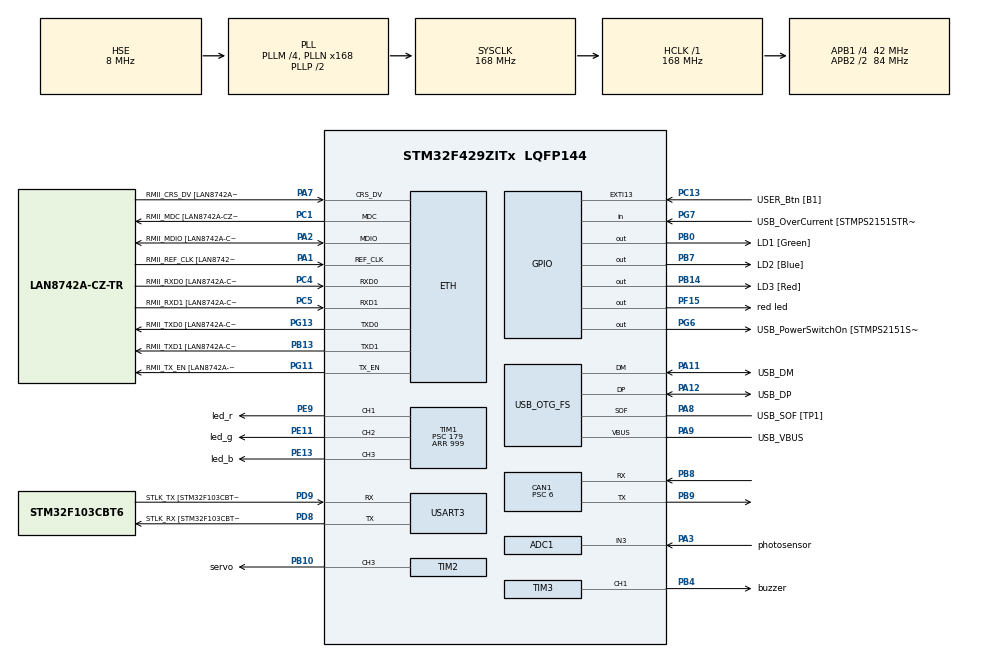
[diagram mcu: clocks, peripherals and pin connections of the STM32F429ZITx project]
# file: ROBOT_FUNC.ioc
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ADC1.Channel-0\#ChannelRegularConversion=ADC_CHANNEL_3
ADC1.ContinuousConvMode=DISABLE
ADC1.InjNumberOfConversion=0
ADC1.NbrOfConversionFlag=1
ADC1.Rank-0\#ChannelRegularConversion=1
ADC1.SamplingTime-0\#ChannelRegularConversion=ADC_SAMPLETIME_84CYCLES
ADC1.ScanConvMode=DISABLE
ADC1.master=1
CAN1.ABOM=ENABLE
CAN1.BS1=CAN_BS1_11TQ
CAN1.BS2=CAN_BS2_2TQ
CAN1.CalculateBaudRate=500000
CAN1.CalculateTimeBit=2000
CAN1.CalculateTimeQuantum=142.85714285714286
CAN1.NART=ENABLE
CAN1.Prescaler=6
ETH.MediaInterface=HAL_ETH_RMII_MODE
ETH.PHY_Name=LAN8742A_PHY_ADDRESS
ETH.PHY_Value=0
ETH.PhyAddress=0
Mcu.Family=STM32F4
Mcu.Name=STM32F429ZITx
Mcu.Package=LQFP144
NVIC.CAN1_RX0_IRQn=true\:0\:0\:false\:false\:true\:true\:true\:true
NVIC.CAN1_TX_IRQn=true\:0\:0\:false\:false\:true\:true\:true\:true
NVIC.PriorityGroup=NVIC_PRIORITYGROUP_4
PA1.GPIO_Label=RMII_REF_CLK [LAN8742A-CZ-TR_REFCLK0]
PA1.Mode=RMII
PA1.Signal=ETH_REF_CLK
PA10.GPIO_Label=USB_ID
PA10.Signal=USB_OTG_FS_ID
PA11.GPIO_Label=USB_DM
PA11.Mode=Device_Only
PA11.Signal=USB_OTG_FS_DM
PA12.GPIO_Label=USB_DP
PA12.Mode=Device_Only
PA12.Signal=USB_OTG_FS_DP
PA13.GPIO_Label=TMS
PA13.Mode=Serial_Wire
PA13.Signal=SYS_JTMS-SWDIO
PA14.GPIO_Label=TCK
PA14.Mode=Serial_Wire
PA14.Signal=SYS_JTCK-SWCLK
PA2.GPIO_Label=RMII_MDIO [LAN8742A-CZ-TR_MDIO]
PA2.Mode=RMII
PA2.Signal=ETH_MDIO
PA3.GPIO_Label=photosensor
PA3.Signal=ADCx_IN3
PA7.GPIO_Label=RMII_CRS_DV [LAN8742A-CZ-TR_CRS_DV]
PA7.Mode=RMII
PA7.Signal=ETH_CRS_DV
PA8.GPIO_Label=USB_SOF [TP1]
PA8.Mode=Activate_SOF_FS
PA8.Signal=USB_OTG_FS_SOF
PA9.GPIO_Label=USB_VBUS
PA9.Mode=Activate_VBUS
PA9.Signal=USB_OTG_FS_VBUS
PB0.GPIO_Label=LD1 [Green]
PB0.Signal=GPIO_Output
PB10.GPIO_Label=servo
PB10.Signal=S_TIM2_CH3
PB13.GPIO_Label=RMII_TXD1 [LAN8742A-CZ-TR_TXD1]
PB13.Mode=RMII
PB13.Signal=ETH_TXD1
PB14.GPIO_Label=LD3 [Red]
PB14.Signal=GPIO_Output
PB4.GPIO_Label=buzzer
PB4.Signal=S_TIM3_CH1
PB7.GPIO_Label=LD2 [Blue]
PB7.Signal=GPIO_Output
PB8.Mode=CAN_Activate
PB8.Signal=CAN1_RX
PB9.Mode=CAN_Activate
PB9.Signal=CAN1_TX
PC1.GPIO_Label=RMII_MDC [LAN8742A-CZ-TR_MDC]
PC1.Mode=RMII
PC1.Signal=ETH_MDC
PC13.GPIO_Label=USER_Btn [B1]
PC13.Signal=GPXTI13
PC14/OSC32_IN.Mode=LSE-External-Oscillator
PC14/OSC32_IN.Signal=RCC_OSC32_IN
PC15/OSC32_OUT.Mode=LSE-External-Oscillator
PC15/OSC32_OUT.Signal=RCC_OSC32_OUT
PC4.GPIO_Label=RMII_RXD0 [LAN8742A-CZ-TR_RXD0]
PC4.Mode=RMII
PC4.Signal=ETH_RXD0
PC5.GPIO_Label=RMII_RXD1 [LAN8742A-CZ-TR_RXD1]
PC5.Mode=RMII
PC5.Signal=ETH_RXD1
PD8.GPIO_Label=STLK_RX [STM32F103CBT6_PA3]
PD8.Mode=Asynchronous
PD8.Signal=USART3_TX
PD9.GPIO_Label=STLK_TX [STM32F103CBT6_PA2]
PD9.Mode=Asynchronous
PD9.Signal=USART3_RX
PE11.GPIO_Label=led_g
PE11.Signal=S_TIM1_CH2
PE13.GPIO_Label=led_b
PE13.Signal=S_TIM1_CH3
PE9.GPIO_Label=led_r
PE9.Signal=S_TIM1_CH1
PF15.GPIO_Label=red led
PF15.Signal=GPIO_Output
PG11.GPIO_Label=RMII_TX_EN [LAN8742A-CZ-TR_TXEN]
PG11.Mode=RMII
PG11.Signal=ETH_TX_EN
PG13.GPIO_Label=RMII_TXD0 [LAN8742A-CZ-TR_TXD0]
PG13.Mode=RMII
PG13.Signal=ETH_TXD0
PG6.GPIO_Label=USB_PowerSwitchOn [STMPS2151STR_EN]
PG6.Signal=GPIO_Output
PG7.GPIO_Label=USB_OverCurrent [STMPS2151STR_FAULT]
PG7.Signal=GPIO_Input
PH0/OSC_IN.GPIO_Label=MCO [STM32F103CBT6_PA8]
PH0/OSC_IN.Mode=HSE-External-Clock-Source
PH0/OSC_IN.Signal=RCC_OSC_IN
PH1/OSC_OUT.Mode=HSE-External-Clock-Source
PH1/OSC_OUT.Signal=RCC_OSC_OUT
ProjectManager.HeapSize=0x200
ProjectManager.StackSize=0x400
ProjectManager.TargetToolchain=CMake
RCC.48MHZClocksFreq_Value=48000000
RCC.AHBFreq_Value=168000000
RCC.APB1CLKDivider=RCC_HCLK_DIV4
RCC.APB1Freq_Value=42000000
RCC.APB1TimFreq_Value=84000000
RCC.APB2CLKDivider=RCC_HCLK_DIV2
RCC.APB2Freq_Value=84000000
RCC.APB2TimFreq_Value=168000000
RCC.CortexFreq_Value=168000000
RCC.HCLKFreq_Value=168000000
RCC.HSE_VALUE=8000000
RCC.HSI_VALUE=16000000
RCC.PLLM=4
RCC.PLLMUL=RCC_PLL_MUL9
RCC.PLLN=168
RCC.PLLQ=7
RCC.PRESCALERUSB=RCC_USBCLKSOURCE_PLL_DIV1_5
RCC.SYSCLKFreq_VALUE=168000000
RCC.SYSCLKSource=RCC_SYSCLKSOURCE_PLLCLK
RCC.SYSCLKSourceVirtual=RCC_SYSCLKSOURCE_PLLCLK
RCC.USBFreq_Value=48000000
RCC.VCOOutputFreq_Value=336000000
SH.ADCx_IN3.0=ADC1_IN3,IN3
SH.S_TIM1_CH1.0=TIM1_CH1,PWM Generation1 CH1
SH.S_TIM1_CH2.0=TIM1_CH2,PWM Generation2 CH2
SH.S_TIM1_CH3.0=TIM1_CH3,PWM Generation3 CH3
SH.S_TIM2_CH3.0=TIM2_CH3,PWM Generation3 CH3
SH.S_TIM3_CH1.0=TIM3_CH1,PWM Generation1 CH1
TIM1.AutoReloadPreload=TIM_AUTORELOAD_PRELOAD_ENABLE
TIM1.Channel-PWM\ Generation1\ CH1=TIM_CHANNEL_1
TIM1.Channel-PWM\ Generation2\ CH2=TIM_CHANNEL_2
TIM1.Channel-PWM\ Generation3\ CH3=TIM_CHANNEL_3
TIM1.Period=999
TIM1.Prescaler=179
TIM2.AutoReloadPreload=TIM_AUTORELOAD_PRELOAD_ENABLE
TIM2.Channel-PWM\ Generation3\ CH3=TIM_CHANNEL_3
TIM2.Period=19999
TIM2.Prescaler=83
TIM2.Pulse-PWM\ Generation3\ CH3=1500
TIM3.Channel-PWM\ Generation1\ CH1=TIM_CHANNEL_1
TIM3.Period=999
TIM3.Prescaler=167
TIM3.Pulse-PWM\ Generation1\ CH1=500
USART3.VirtualMode=VM_ASYNC
USB_OTG_FS.VirtualMode=Device_Only
VP_TIM1_VS_ClockSourceINT.Mode=Internal
VP_TIM2_VS_ClockSourceINT.Mode=Internal
VP_TIM3_VS_ClockSourceINT.Mode=Internal
board=NUCLEO-F429ZI

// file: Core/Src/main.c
/* USER CODE BEGIN Header */
/**
  ******************************************************************************
  * @file           : main.c
  * @brief          : Main program body
  ******************************************************************************
  * @attention
  *
  * Copyright (c) 2026 STMicroelectronics.
  * All rights reserved.
  *
  * This software is licensed under terms that can be found in the LICENSE file
  * in the root directory of this software component.
  * If no LICENSE file comes with this software, it is provided AS-IS.
  *
  ******************************************************************************
  */
/* USER CODE END Header */
#include "main.h"
#include "string.h"

/* USER CODE BEGIN Includes */
#include "led.h"
#include "warning_led.h"
#include "buzzer.h"
#include "can.h"
/* USER CODE END Includes */

ETH_TxPacketConfig TxConfig;
ETH_DMADescTypeDef  DMARxDscrTab[ETH_RX_DESC_CNT]; /* Ethernet Rx DMA Descriptors */
ETH_DMADescTypeDef  DMATxDscrTab[ETH_TX_DESC_CNT]; /* Ethernet Tx DMA Descriptors */

ADC_HandleTypeDef hadc1;

CAN_HandleTypeDef hcan1;

ETH_HandleTypeDef heth;

TIM_HandleTypeDef htim1;
TIM_HandleTypeDef htim2;
TIM_HandleTypeDef htim3;

UART_HandleTypeDef huart3;

PCD_HandleTypeDef hpcd_USB_OTG_FS;

/* USER CODE BEGIN PV */
uint8_t app_mode = 0; // 0:auto 1:manual

uint16_t adcValue = 0;

uint8_t rgb_led_state = 0;    // 0: OFF, 1: ON
uint8_t red_led_state = 0;    // 0: OFF, 1: ON
uint8_t buzzer_state = 0;     // 0: OFF, 1: ON
//uint16_t buzzer_duty = 0;   // 필요하면 부저 세기까지 저장
uint8_t manual_rgb_req = 0;  // 수동 RGB ON/OFF 요청
/* USER CODE END PV */

void SystemClock_Config(void);
static void MX_GPIO_Init(void);
static void MX_ETH_Init(void);
static void MX_USART3_UART_Init(void);
static void MX_USB_OTG_FS_PCD_Init(void);
static void MX_ADC1_Init(void);
static void MX_TIM1_Init(void);
static void MX_TIM2_Init(void);
static void MX_TIM3_Init(void);
static void MX_CAN1_Init(void);

/* USER CODE BEGIN 0 */
const uint16_t dark_th = 2000;   // 너 환경에 맞게 조절
const uint16_t white_intensity = 999; // 흰색 밝기(0~999)

static void update_rgb_led(void)
{
    if (app_mode == 0) // AUTO
    {
        if (adcValue < dark_th)
        {
            LED_White(white_intensity);
            rgb_led_state = 1;
        }
        else
        {
            LED_Off();
            rgb_led_state = 0;
        }
    }
    else // MANUAL
    {
        if (manual_rgb_req)
        {
            LED_White(white_intensity);
            rgb_led_state = 1;
        }
        else
        {
            LED_Off();
            rgb_led_state = 0;
        }
    }
}

static void app_can_rx_cb(uint32_t id, const uint8_t *data, uint8_t dlc)
{
    (void)dlc;

    switch (id)
    {

    case CAN_ID_RX_MODE:
        app_mode = data[0];   // 0:auto 1:manual
        break;

    case CAN_ID_RX_RGB:
        manual_rgb_req = data[0]; // 0 OFF / 1 ON
        break;

    case CAN_ID_RX_LED:
        if (data[0])
        {
            WarningLed_On();
            red_led_state = 1;
        }
        else
        {
            WarningLed_Off();
            red_led_state = 0;
        }
        break;

    case CAN_ID_RX_BUZZER:
        if (data[0])
        {
            Buzzer_On(500);
            buzzer_state = 1;
        }
        else
        {
            Buzzer_Off();
            buzzer_state = 0;
        }
        break;

    default:
        break;
    }

    update_rgb_led();
}

/* USER CODE END 0 */

int main(void)
{

  /* MCU Configuration--------------------------------------------------------*/

  /* Reset of all peripherals, Initializes the Flash interface and the Systick. */
  HAL_Init();

  /* Configure the system clock */
  SystemClock_Config();

  /* Initialize all configured peripherals */
  MX_GPIO_Init();
  MX_ETH_Init();
  MX_USART3_UART_Init();
  MX_USB_OTG_FS_PCD_Init();
  MX_ADC1_Init();
  MX_TIM1_Init();
  MX_TIM2_Init();
  MX_TIM3_Init();
  MX_CAN1_Init();
  /* USER CODE BEGIN 2 */
  HAL_TIM_PWM_Start(&htim3, TIM_CHANNEL_1); // 부저
  HAL_TIM_PWM_Start(&htim1, TIM_CHANNEL_1); // RGB - Red
  HAL_TIM_PWM_Start(&htim1, TIM_CHANNEL_2); // RGB - Green
  HAL_TIM_PWM_Start(&htim1, TIM_CHANNEL_3); // RGB - Blue
  LED_Init();          // (led.c에 LED_Init이 있을 때)
  WarningLed_Init();
  Buzzer_Init();
  can_comm_init(&hcan1, app_can_rx_cb); // CAN 시작 + RX 알림 활성화 + 필터 설정
  /* USER CODE END 2 */

  /* Infinite loop */
  /* USER CODE BEGIN WHILE */
  while (1)
  {
  //  // ADC 읽기 (예: hadc1, 채널은 너 설정대로)
    HAL_ADC_Start(&hadc1);
    if (HAL_ADC_PollForConversion(&hadc1, 10) == HAL_OK) {
        adcValue = (uint16_t)HAL_ADC_GetValue(&hadc1); // 0~4095
    }

    HAL_ADC_Stop(&hadc1);
    update_rgb_led();
    can_comm_tx_status(adcValue,
                        rgb_led_state,
                        red_led_state,
                        buzzer_state);

    HAL_Delay(200);

  // 어두우면 흰색 ON, 밝으면 OFF
  //   if (adcValue < dark_th) {
  //       LED_White(white_intensity);
  //   } else {
  //       LED_Off();
  //   }

  //   if (triggered)
  //   {
  //       // 경고 동작
  //       WarningLed_On();
  //      // Buzzer_On(500);
  //   }
  //   else
  //   {
  //       // 평상시
  //       WarningLed_Off();
  //      // Buzzer_Off();
  //   }

  //   HAL_Delay(50);

    /* USER CODE END WHILE */

  }
}

void SystemClock_Config(void)
{
  RCC_OscInitTypeDef RCC_OscInitStruct = {0};
  RCC_ClkInitTypeDef RCC_ClkInitStruct = {0};

  /** Configure the main internal regulator output voltage
  */
  __HAL_RCC_PWR_CLK_ENABLE();
  __HAL_PWR_VOLTAGESCALING_CONFIG(PWR_REGULATOR_VOLTAGE_SCALE1);

  /** Initializes the RCC Oscillators according to the specified parameters
  * in the RCC_OscInitTypeDef structure.
  */
  RCC_OscInitStruct.OscillatorType = RCC_OSCILLATORTYPE_HSE;
  RCC_OscInitStruct.HSEState = RCC_HSE_BYPASS;
  RCC_OscInitStruct.PLL.PLLState = RCC_PLL_ON;
  RCC_OscInitStruct.PLL.PLLSource = RCC_PLLSOURCE_HSE;
  RCC_OscInitStruct.PLL.PLLM = 4;
  RCC_OscInitStruct.PLL.PLLN = 168;
  RCC_OscInitStruct.PLL.PLLP = RCC_PLLP_DIV2;
  RCC_OscInitStruct.PLL.PLLQ = 7;
  if (HAL_RCC_OscConfig(&RCC_OscInitStruct) != HAL_OK)
  {
    Error_Handler();
  }

  /** Initializes the CPU, AHB and APB buses clocks
  */
  RCC_ClkInitStruct.ClockType = RCC_CLOCKTYPE_HCLK|RCC_CLOCKTYPE_SYSCLK
                              |RCC_CLOCKTYPE_PCLK1|RCC_CLOCKTYPE_PCLK2;
  RCC_ClkInitStruct.SYSCLKSource = RCC_SYSCLKSOURCE_PLLCLK;
  RCC_ClkInitStruct.AHBCLKDivider = RCC_SYSCLK_DIV1;
  RCC_ClkInitStruct.APB1CLKDivider = RCC_HCLK_DIV4;
  RCC_ClkInitStruct.APB2CLKDivider = RCC_HCLK_DIV2;

  if (HAL_RCC_ClockConfig(&RCC_ClkInitStruct, FLASH_LATENCY_5) != HAL_OK)
  {
    Error_Handler();
  }
}

static void MX_ADC1_Init(void)
{

  ADC_ChannelConfTypeDef sConfig = {0};

  /** Configure the global features of the ADC (Clock, Resolution, Data Alignment and number of conversion)
  */
  hadc1.Instance = ADC1;
  hadc1.Init.ClockPrescaler = ADC_CLOCK_SYNC_PCLK_DIV4;
  hadc1.Init.Resolution = ADC_RESOLUTION_12B;
  hadc1.Init.ScanConvMode = DISABLE;
  hadc1.Init.ContinuousConvMode = DISABLE;
  hadc1.Init.DiscontinuousConvMode = DISABLE;
  hadc1.Init.ExternalTrigConvEdge = ADC_EXTERNALTRIGCONVEDGE_NONE;
  hadc1.Init.ExternalTrigConv = ADC_SOFTWARE_START;
  hadc1.Init.DataAlign = ADC_DATAALIGN_RIGHT;
  hadc1.Init.NbrOfConversion = 1;
  hadc1.Init.DMAContinuousRequests = DISABLE;
  hadc1.Init.EOCSelection = ADC_EOC_SINGLE_CONV;
  if (HAL_ADC_Init(&hadc1) != HAL_OK)
  {
    Error_Handler();
  }

  /** Configure for the selected ADC regular channel its corresponding rank in the sequencer and its sample time.
  */
  sConfig.Channel = ADC_CHANNEL_3;
  sConfig.Rank = 1;
  sConfig.SamplingTime = ADC_SAMPLETIME_84CYCLES;
  if (HAL_ADC_ConfigChannel(&hadc1, &sConfig) != HAL_OK)
  {
    Error_Handler();
  }

}

static void MX_CAN1_Init(void)
{

  hcan1.Instance = CAN1;
  hcan1.Init.Prescaler = 6;
  hcan1.Init.Mode = CAN_MODE_NORMAL;
  hcan1.Init.SyncJumpWidth = CAN_SJW_1TQ;
  hcan1.Init.TimeSeg1 = CAN_BS1_11TQ;
  hcan1.Init.TimeSeg2 = CAN_BS2_2TQ;
  hcan1.Init.TimeTriggeredMode = DISABLE;
  hcan1.Init.AutoBusOff = ENABLE;
  hcan1.Init.AutoWakeUp = DISABLE;
  hcan1.Init.AutoRetransmission = ENABLE;
  hcan1.Init.ReceiveFifoLocked = DISABLE;
  hcan1.Init.TransmitFifoPriority = DISABLE;
  if (HAL_CAN_Init(&hcan1) != HAL_OK)
  {
    Error_Handler();
  }

}

static void MX_ETH_Init(void)
{

   static uint8_t MACAddr[6];

  heth.Instance = ETH;
  MACAddr[0] = 0x00;
  MACAddr[1] = 0x80;
  MACAddr[2] = 0xE1;
  MACAddr[3] = 0x00;
  MACAddr[4] = 0x00;
  MACAddr[5] = 0x00;
  heth.Init.MACAddr = &MACAddr[0];
  heth.Init.MediaInterface = HAL_ETH_RMII_MODE;
  heth.Init.TxDesc = DMATxDscrTab;
  heth.Init.RxDesc = DMARxDscrTab;
  heth.Init.RxBuffLen = 1524;

  if (HAL_ETH_Init(&heth) != HAL_OK)
  {
    Error_Handler();
  }

  memset(&TxConfig, 0 , sizeof(ETH_TxPacketConfig));
  TxConfig.Attributes = ETH_TX_PACKETS_FEATURES_CSUM | ETH_TX_PACKETS_FEATURES_CRCPAD;
  TxConfig.ChecksumCtrl = ETH_CHECKSUM_IPHDR_PAYLOAD_INSERT_PHDR_CALC;
  TxConfig.CRCPadCtrl = ETH_CRC_PAD_INSERT;

}

static void MX_TIM1_Init(void)
{

  TIM_ClockConfigTypeDef sClockSourceConfig = {0};
  TIM_MasterConfigTypeDef sMasterConfig = {0};
  TIM_OC_InitTypeDef sConfigOC = {0};
  TIM_BreakDeadTimeConfigTypeDef sBreakDeadTimeConfig = {0};

  htim1.Instance = TIM1;
  htim1.Init.Prescaler = 179;
  htim1.Init.CounterMode = TIM_COUNTERMODE_UP;
  htim1.Init.Period = 999;
  htim1.Init.ClockDivision = TIM_CLOCKDIVISION_DIV1;
  htim1.Init.RepetitionCounter = 0;
  htim1.Init.AutoReloadPreload = TIM_AUTORELOAD_PRELOAD_ENABLE;
  if (HAL_TIM_Base_Init(&htim1) != HAL_OK)
  {
    Error_Handler();
  }
  sClockSourceConfig.ClockSource = TIM_CLOCKSOURCE_INTERNAL;
  if (HAL_TIM_ConfigClockSource(&htim1, &sClockSourceConfig) != HAL_OK)
  {
    Error_Handler();
  }
  if (HAL_TIM_PWM_Init(&htim1) != HAL_OK)
  {
    Error_Handler();
  }
  sMasterConfig.MasterOutputTrigger = TIM_TRGO_RESET;
  sMasterConfig.MasterSlaveMode = TIM_MASTERSLAVEMODE_DISABLE;
  if (HAL_TIMEx_MasterConfigSynchronization(&htim1, &sMasterConfig) != HAL_OK)
  {
    Error_Handler();
  }
  sConfigOC.OCMode = TIM_OCMODE_PWM1;
  sConfigOC.Pulse = 0;
  sConfigOC.OCPolarity = TIM_OCPOLARITY_HIGH;
  sConfigOC.OCNPolarity = TIM_OCNPOLARITY_HIGH;
  sConfigOC.OCFastMode = TIM_OCFAST_DISABLE;
  sConfigOC.OCIdleState = TIM_OCIDLESTATE_RESET;
  sConfigOC.OCNIdleState = TIM_OCNIDLESTATE_RESET;
  if (HAL_TIM_PWM_ConfigChannel(&htim1, &sConfigOC, TIM_CHANNEL_1) != HAL_OK)
  {
    Error_Handler();
  }
  if (HAL_TIM_PWM_ConfigChannel(&htim1, &sConfigOC, TIM_CHANNEL_2) != HAL_OK)
  {
    Error_Handler();
  }
  if (HAL_TIM_PWM_ConfigChannel(&htim1, &sConfigOC, TIM_CHANNEL_3) != HAL_OK)
  {
    Error_Handler();
  }
  sBreakDeadTimeConfig.OffStateRunMode = TIM_OSSR_DISABLE;
  sBreakDeadTimeConfig.OffStateIDLEMode = TIM_OSSI_DISABLE;
  sBreakDeadTimeConfig.LockLevel = TIM_LOCKLEVEL_OFF;
  sBreakDeadTimeConfig.DeadTime = 0;
  sBreakDeadTimeConfig.BreakState = TIM_BREAK_DISABLE;
  sBreakDeadTimeConfig.BreakPolarity = TIM_BREAKPOLARITY_HIGH;
  sBreakDeadTimeConfig.AutomaticOutput = TIM_AUTOMATICOUTPUT_DISABLE;
  if (HAL_TIMEx_ConfigBreakDeadTime(&htim1, &sBreakDeadTimeConfig) != HAL_OK)
  {
    Error_Handler();
  }
  HAL_TIM_MspPostInit(&htim1);

}

static void MX_TIM2_Init(void)
{

  TIM_ClockConfigTypeDef sClockSourceConfig = {0};
  TIM_MasterConfigTypeDef sMasterConfig = {0};
  TIM_OC_InitTypeDef sConfigOC = {0};

  htim2.Instance = TIM2;
  htim2.Init.Prescaler = 83;
  htim2.Init.CounterMode = TIM_COUNTERMODE_UP;
  htim2.Init.Period = 19999;
  htim2.Init.ClockDivision = TIM_CLOCKDIVISION_DIV1;
  htim2.Init.AutoReloadPreload = TIM_AUTORELOAD_PRELOAD_ENABLE;
  if (HAL_TIM_Base_Init(&htim2) != HAL_OK)
  {
    Error_Handler();
  }
  sClockSourceConfig.ClockSource = TIM_CLOCKSOURCE_INTERNAL;
  if (HAL_TIM_ConfigClockSource(&htim2, &sClockSourceConfig) != HAL_OK)
  {
    Error_Handler();
  }
  if (HAL_TIM_PWM_Init(&htim2) != HAL_OK)
  {
    Error_Handler();
  }
  sMasterConfig.MasterOutputTrigger = TIM_TRGO_RESET;
  sMasterConfig.MasterSlaveMode = TIM_MASTERSLAVEMODE_DISABLE;
  if (HAL_TIMEx_MasterConfigSynchronization(&htim2, &sMasterConfig) != HAL_OK)
  {
    Error_Handler();
  }
  sConfigOC.OCMode = TIM_OCMODE_PWM1;
  sConfigOC.Pulse = 1500;
  sConfigOC.OCPolarity = TIM_OCPOLARITY_HIGH;
  sConfigOC.OCFastMode = TIM_OCFAST_DISABLE;
  if (HAL_TIM_PWM_ConfigChannel(&htim2, &sConfigOC, TIM_CHANNEL_3) != HAL_OK)
  {
    Error_Handler();
  }
  HAL_TIM_MspPostInit(&htim2);

}

static void MX_TIM3_Init(void)
{

  TIM_ClockConfigTypeDef sClockSourceConfig = {0};
  TIM_MasterConfigTypeDef sMasterConfig = {0};
  TIM_OC_InitTypeDef sConfigOC = {0};

  htim3.Instance = TIM3;
  htim3.Init.Prescaler = 167;
  htim3.Init.CounterMode = TIM_COUNTERMODE_UP;
  htim3.Init.Period = 999;
  htim3.Init.ClockDivision = TIM_CLOCKDIVISION_DIV1;
  htim3.Init.AutoReloadPreload = TIM_AUTORELOAD_PRELOAD_DISABLE;
  if (HAL_TIM_Base_Init(&htim3) != HAL_OK)
  {
    Error_Handler();
  }
  sClockSourceConfig.ClockSource = TIM_CLOCKSOURCE_INTERNAL;
  if (HAL_TIM_ConfigClockSource(&htim3, &sClockSourceConfig) != HAL_OK)
  {
    Error_Handler();
  }
  if (HAL_TIM_PWM_Init(&htim3) != HAL_OK)
  {
    Error_Handler();
  }
  sMasterConfig.MasterOutputTrigger = TIM_TRGO_RESET;
  sMasterConfig.MasterSlaveMode = TIM_MASTERSLAVEMODE_DISABLE;
  if (HAL_TIMEx_MasterConfigSynchronization(&htim3, &sMasterConfig) != HAL_OK)
  {
    Error_Handler();
  }
  sConfigOC.OCMode = TIM_OCMODE_PWM1;
  sConfigOC.Pulse = 500;
  sConfigOC.OCPolarity = TIM_OCPOLARITY_HIGH;
  sConfigOC.OCFastMode = TIM_OCFAST_DISABLE;
  if (HAL_TIM_PWM_ConfigChannel(&htim3, &sConfigOC, TIM_CHANNEL_1) != HAL_OK)
  {
    Error_Handler();
  }
  HAL_TIM_MspPostInit(&htim3);

}

static void MX_USART3_UART_Init(void)
{

  huart3.Instance = USART3;
  huart3.Init.BaudRate = 115200;
  huart3.Init.WordLength = UART_WORDLENGTH_8B;
  huart3.Init.StopBits = UART_STOPBITS_1;
  huart3.Init.Parity = UART_PARITY_NONE;
  huart3.Init.Mode = UART_MODE_TX_RX;
  huart3.Init.HwFlowCtl = UART_HWCONTROL_NONE;
  huart3.Init.OverSampling = UART_OVERSAMPLING_16;
  if (HAL_UART_Init(&huart3) != HAL_OK)
  {
    Error_Handler();
  }

}

static void MX_USB_OTG_FS_PCD_Init(void)
{

  hpcd_USB_OTG_FS.Instance = USB_OTG_FS;
  hpcd_USB_OTG_FS.Init.dev_endpoints = 4;
  hpcd_USB_OTG_FS.Init.speed = PCD_SPEED_FULL;
  hpcd_USB_OTG_FS.Init.dma_enable = DISABLE;
  hpcd_USB_OTG_FS.Init.phy_itface = PCD_PHY_EMBEDDED;
  hpcd_USB_OTG_FS.Init.Sof_enable = ENABLE;
  hpcd_USB_OTG_FS.Init.low_power_enable = DISABLE;
  hpcd_USB_OTG_FS.Init.lpm_enable = DISABLE;
  hpcd_USB_OTG_FS.Init.vbus_sensing_enable = ENABLE;
  hpcd_USB_OTG_FS.Init.use_dedicated_ep1 = DISABLE;
  if (HAL_PCD_Init(&hpcd_USB_OTG_FS) != HAL_OK)
  {
    Error_Handler();
  }

}

static void MX_GPIO_Init(void)
{
  GPIO_InitTypeDef GPIO_InitStruct = {0};

  /* GPIO Ports Clock Enable */
  __HAL_RCC_GPIOC_CLK_ENABLE();
  __HAL_RCC_GPIOH_CLK_ENABLE();
  __HAL_RCC_GPIOA_CLK_ENABLE();
  __HAL_RCC_GPIOB_CLK_ENABLE();
  __HAL_RCC_GPIOF_CLK_ENABLE();
  __HAL_RCC_GPIOE_CLK_ENABLE();
  __HAL_RCC_GPIOD_CLK_ENABLE();
  __HAL_RCC_GPIOG_CLK_ENABLE();

  /*Configure GPIO pin Output Level */
  HAL_GPIO_WritePin(GPIOB, LD1_Pin|LD3_Pin|LD2_Pin, GPIO_PIN_RESET);

  /*Configure GPIO pin Output Level */
  HAL_GPIO_WritePin(red_led_GPIO_Port, red_led_Pin, GPIO_PIN_RESET);

  /*Configure GPIO pin Output Level */
  HAL_GPIO_WritePin(USB_PowerSwitchOn_GPIO_Port, USB_PowerSwitchOn_Pin, GPIO_PIN_RESET);

  /*Configure GPIO pin : USER_Btn_Pin */
  GPIO_InitStruct.Pin = USER_Btn_Pin;
  GPIO_InitStruct.Mode = GPIO_MODE_IT_RISING;
  GPIO_InitStruct.Pull = GPIO_NOPULL;
  HAL_GPIO_Init(USER_Btn_GPIO_Port, &GPIO_InitStruct);

  /*Configure GPIO pins : LD1_Pin LD3_Pin LD2_Pin */
  GPIO_InitStruct.Pin = LD1_Pin|LD3_Pin|LD2_Pin;
  GPIO_InitStruct.Mode = GPIO_MODE_OUTPUT_PP;
  GPIO_InitStruct.Pull = GPIO_NOPULL;
  GPIO_InitStruct.Speed = GPIO_SPEED_FREQ_LOW;
  HAL_GPIO_Init(GPIOB, &GPIO_InitStruct);

  /*Configure GPIO pin : red_led_Pin */
  GPIO_InitStruct.Pin = red_led_Pin;
  GPIO_InitStruct.Mode = GPIO_MODE_OUTPUT_PP;
  GPIO_InitStruct.Pull = GPIO_NOPULL;
  GPIO_InitStruct.Speed = GPIO_SPEED_FREQ_LOW;
  HAL_GPIO_Init(red_led_GPIO_Port, &GPIO_InitStruct);

  /*Configure GPIO pin : USB_PowerSwitchOn_Pin */
  GPIO_InitStruct.Pin = USB_PowerSwitchOn_Pin;
  GPIO_InitStruct.Mode = GPIO_MODE_OUTPUT_PP;
  GPIO_InitStruct.Pull = GPIO_NOPULL;
  GPIO_InitStruct.Speed = GPIO_SPEED_FREQ_LOW;
  HAL_GPIO_Init(USB_PowerSwitchOn_GPIO_Port, &GPIO_InitStruct);

  /*Configure GPIO pin : USB_OverCurrent_Pin */
  GPIO_InitStruct.Pin = USB_OverCurrent_Pin;
  GPIO_InitStruct.Mode = GPIO_MODE_INPUT;
  GPIO_InitStruct.Pull = GPIO_NOPULL;
  HAL_GPIO_Init(USB_OverCurrent_GPIO_Port, &GPIO_InitStruct);

}

/* USER CODE BEGIN 4 */
void HAL_CAN_RxFifo0MsgPendingCallback(CAN_HandleTypeDef *hcan)
{
  HAL_GPIO_TogglePin(GPIOB, LD1_Pin);
  can_comm_rx_handler(hcan);
}
/* USER CODE END 4 */

void Error_Handler(void)
{
  __disable_irq();
  while (1)
  {
  }
}
